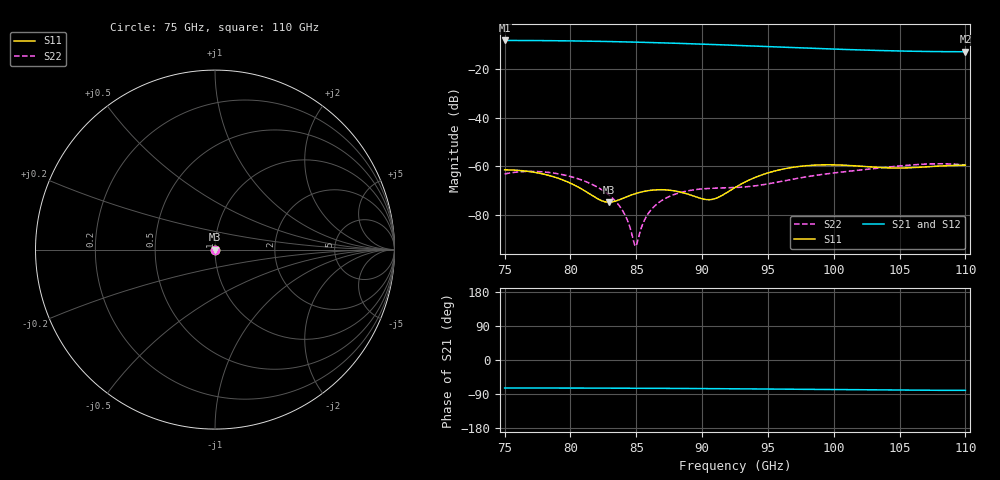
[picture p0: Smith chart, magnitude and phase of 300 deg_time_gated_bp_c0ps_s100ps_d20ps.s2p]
# Hz S RI R 50.000000
! Metas.Vna.Tools, 2.4.7724.19584
! Metas.Vna.Data, 2.4.7724.19560
! Created: UTC 2021.04.29 12:40:11
! FREQ  re:S1,1  im:S1,1  re:S2,1  im:S2,1  re:S1,2  im:S1,2  re:S2,2  im:S2,2
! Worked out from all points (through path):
!   1401 points, 75 GHz to 110 GHz, reference 50 ohm
!   highest |S21| = -8.25 dB at 75 GHz (marker M1); lowest = -12.9 dB at 110 GHz (marker M2)
!   lowest |S11| = -74.8 dB at 82.92 GHz (marker M3), VSWR 1.00, Z = 50 + j0.00417 ohm
!   |S11| at or under -10 dB: start of sweep to end of sweep
!   |S22| runs from -92.9 to -59.0 dB; largest |S21 - S12| = 0.02
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7.5e10  -0.000218 -0.000814  0.1077 -0.3716  0.1158 -0.3715  0.000663 0.000204
7.655e10  -0.00022 -0.000767  0.1074 -0.3709  0.1154 -0.3708  0.000725 0.000283
7.8175e10  -0.000226 -0.000626  0.1064 -0.3687  0.1142 -0.3686  0.000686 0.000311
7.9575e10  -0.000227 -0.000448  0.105 -0.3656  0.1126 -0.3655  0.000587 0.000292
8.085e10  -0.000219 -0.00026  0.1034 -0.3618  0.1106 -0.3617  0.000459 0.000246
8.2225e10  -0.000196 -5.51e-05  0.1012 -0.3568  0.108 -0.3568  0.0003 0.000176
8.2925e10  -0.000177 4.17e-05  0.0999 -0.3539  0.1064 -0.3539  0.000217 0.000136
8.3525e10  -0.000157 0.000117  0.0987 -0.3513  0.1049 -0.3513  0.000146 0.000101
8.41e10  -0.000134 0.000181  0.0975 -0.3486  0.1035 -0.3487  8.01e-05 6.77e-05
8.43e10  -0.000125 0.000201  0.097 -0.3476  0.1029 -0.3477  5.79e-05 5.63e-05
8.575e10  -5.23e-05 0.000305  0.0937 -0.3402  0.0987 -0.3404  -8.77e-05 -2.26e-05
8.6675e10  5.92e-07 0.000328  0.0914 -0.335  0.0958 -0.3353  -0.000162 -6.73e-05
8.8275e10  9.43e-05 0.000282  0.087 -0.3256  0.0902 -0.326  -0.00025 -0.000134
9.055e10  0.000201 4e-05  0.0804 -0.3111  0.0814 -0.3119  -0.000275 -0.000215
9.125e10  0.00022 -6.68e-05  0.0783 -0.3065  0.0785 -0.3074  -0.000262 -0.000241
9.25e10  0.000233 -0.00028  0.0745 -0.2982  0.0732 -0.2993  -0.000219 -0.000292
9.38e10  0.000212 -0.000511  0.0705 -0.2896  0.0675 -0.291  -0.000158 -0.000354
9.5175e10  0.000151 -0.000737  0.0663 -0.2806  0.0615 -0.2823  -9.49e-05 -0.000431
9.835e10  -0.000123 -0.00104  0.0571 -0.2609  0.0479 -0.2634  -5.42e-05 -0.00063
1.04175e11  -0.000764 -0.000516  0.044 -0.2334  0.0277 -0.2373  -0.000644 -0.000716
1.07425e11  -0.000985 -3.62e-05  0.0401 -0.2253  0.0215 -0.2296  -0.00102 -0.000451
1.1e11  -0.00104 0.000113  0.0392 -0.2233  0.02 -0.2277  -0.00105 -0.000138
